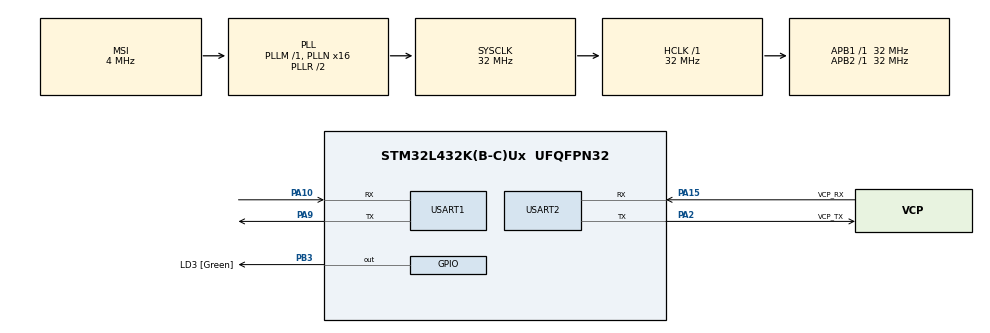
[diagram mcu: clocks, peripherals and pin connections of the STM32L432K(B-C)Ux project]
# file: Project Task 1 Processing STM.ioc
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Mcu.Family=STM32L4
Mcu.Name=STM32L432K(B-C)Ux
Mcu.Package=UFQFPN32
NVIC.PriorityGroup=NVIC_PRIORITYGROUP_4
PA0.GPIO_Label=MCO [High speed clock in]
PA0.Mode=HSE-External-Clock-Source-for-LittleOrca
PA0.Signal=RCC_CK_IN
PA10.Mode=Asynchronous
PA10.Signal=USART1_RX
PA13\ (JTMS-SWDIO).GPIO_Label=SWDIO
PA13\ (JTMS-SWDIO).Mode=Serial_Wire
PA13\ (JTMS-SWDIO).Signal=SYS_JTMS-SWDIO
PA14\ (JTCK-SWCLK).GPIO_Label=SWCLK
PA14\ (JTCK-SWCLK).Mode=Serial_Wire
PA14\ (JTCK-SWCLK).Signal=SYS_JTCK-SWCLK
PA15\ (JTDI).GPIO_Label=VCP_RX
PA15\ (JTDI).Mode=Asynchronous
PA15\ (JTDI).Signal=USART2_RX
PA2.GPIO_Label=VCP_TX
PA2.Mode=Asynchronous
PA2.Signal=USART2_TX
PA9.Mode=Asynchronous
PA9.Signal=USART1_TX
PB3\ (JTDO-TRACESWO).GPIO_Label=LD3 [Green]
PB3\ (JTDO-TRACESWO).Signal=GPIO_Output
PC14-OSC32_IN\ (PC14).Mode=LSE-External-Oscillator
PC14-OSC32_IN\ (PC14).Signal=RCC_OSC32_IN
PC15-OSC32_OUT\ (PC15).Mode=LSE-External-Oscillator
PC15-OSC32_OUT\ (PC15).Signal=RCC_OSC32_OUT
ProjectManager.HeapSize=0x200
ProjectManager.StackSize=0x400
ProjectManager.TargetToolchain=STM32CubeIDE
RCC.AHBFreq_Value=32000000
RCC.APB1Freq_Value=32000000
RCC.APB1TimFreq_Value=32000000
RCC.APB2Freq_Value=32000000
RCC.APB2TimFreq_Value=32000000
RCC.CortexFreq_Value=32000000
RCC.HCLKFreq_Value=32000000
RCC.HSE_VALUE=8000000
RCC.HSI16_VALUE=16000000
RCC.HSI48_VALUE=48000000
RCC.HSI_VALUE=16000000
RCC.MSI_VALUE=4000000
RCC.PLLMUL=RCC_PLLMUL_4
RCC.PLLN=16
RCC.SYSCLKFreq_VALUE=32000000
RCC.SYSCLKSource=RCC_SYSCLKSOURCE_PLLCLK
RCC.VCOOutputFreq_Value=64000000
USART1.VirtualMode-Asynchronous=VM_ASYNC
USART2.VirtualMode-Asynchronous=VM_ASYNC
board=NUCLEO-L432KC

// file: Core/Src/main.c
/* USER CODE BEGIN Header */
/**
  ******************************************************************************
  * @file           : main.c
  * @brief          : Main program body
  ******************************************************************************
  * @attention
  *
  * Copyright (c) 2026 STMicroelectronics.
  * All rights reserved.
  *
  * This software is licensed under terms that can be found in the LICENSE file
  * in the root directory of this software component.
  * If no LICENSE file comes with this software, it is provided AS-IS.
  *
  ******************************************************************************
  */
/* USER CODE END Header */
#include "main.h"

/* USER CODE BEGIN Includes */
#define moving_length 2
/* USER CODE END Includes */

UART_HandleTypeDef huart1;
UART_HandleTypeDef huart2;

void SystemClock_Config(void);
static void MX_GPIO_Init(void);
static void MX_USART2_UART_Init(void);
static void MX_USART1_UART_Init(void);
/* USER CODE BEGIN PFP */
uint8_t get_average(uint8_t array[], int len){
    uint16_t sum = 0;
    for (int i = 0; i < len; i++){
        sum += array[i];
    }
    uint8_t average = sum/len;
    return (uint8_t)average;
}

void change_array(uint8_t array[], int len, uint8_t value){
    for(int i = 1; i < len; i++){
        array[i-1] = array[i];
    }
    array[len-1] = value;
}
/* USER CODE END PFP */

int main(void)
{

  /* MCU Configuration--------------------------------------------------------*/

  /* Reset of all peripherals, Initializes the Flash interface and the Systick. */
  HAL_Init();

  /* Configure the system clock */
  SystemClock_Config();

  /* Initialize all configured peripherals */
  MX_GPIO_Init();
  MX_USART2_UART_Init();
  MX_USART1_UART_Init();
  /* USER CODE BEGIN 2 */
  uint8_t rec_buffer[1];
  uint8_t send_buffer[1];
  int message_received = 0;
  uint8_t array[moving_length] = {0};
  /* USER CODE END 2 */

  /* Infinite loop */
  while (1)
  {

    /* USER CODE BEGIN 3 */
	  HAL_UART_Receive(&huart1, rec_buffer, sizeof(rec_buffer), 10);
	  if (rec_buffer[0] != 0) {
		  message_received++;
	  }
	  if (message_received >= 1) {
		  change_array(array, moving_length, rec_buffer[0]);
		  send_buffer[0] = get_average(array, moving_length);
		  HAL_UART_Transmit(&huart2, send_buffer, sizeof(send_buffer), HAL_MAX_DELAY);
		  message_received = 0;
	  }
  }
  /* USER CODE END 3 */
}

void SystemClock_Config(void)
{
  RCC_OscInitTypeDef RCC_OscInitStruct = {0};
  RCC_ClkInitTypeDef RCC_ClkInitStruct = {0};

  /** Configure the main internal regulator output voltage
  */
  if (HAL_PWREx_ControlVoltageScaling(PWR_REGULATOR_VOLTAGE_SCALE1) != HAL_OK)
  {
    Error_Handler();
  }

  /** Configure LSE Drive Capability
  */
  HAL_PWR_EnableBkUpAccess();
  __HAL_RCC_LSEDRIVE_CONFIG(RCC_LSEDRIVE_LOW);

  /** Initializes the RCC Oscillators according to the specified parameters
  * in the RCC_OscInitTypeDef structure.
  */
  RCC_OscInitStruct.OscillatorType = RCC_OSCILLATORTYPE_LSE|RCC_OSCILLATORTYPE_MSI;
  RCC_OscInitStruct.LSEState = RCC_LSE_ON;
  RCC_OscInitStruct.MSIState = RCC_MSI_ON;
  RCC_OscInitStruct.MSICalibrationValue = 0;
  RCC_OscInitStruct.MSIClockRange = RCC_MSIRANGE_6;
  RCC_OscInitStruct.PLL.PLLState = RCC_PLL_ON;
  RCC_OscInitStruct.PLL.PLLSource = RCC_PLLSOURCE_MSI;
  RCC_OscInitStruct.PLL.PLLM = 1;
  RCC_OscInitStruct.PLL.PLLN = 16;
  RCC_OscInitStruct.PLL.PLLP = RCC_PLLP_DIV7;
  RCC_OscInitStruct.PLL.PLLQ = RCC_PLLQ_DIV2;
  RCC_OscInitStruct.PLL.PLLR = RCC_PLLR_DIV2;
  if (HAL_RCC_OscConfig(&RCC_OscInitStruct) != HAL_OK)
  {
    Error_Handler();
  }

  /** Initializes the CPU, AHB and APB buses clocks
  */
  RCC_ClkInitStruct.ClockType = RCC_CLOCKTYPE_HCLK|RCC_CLOCKTYPE_SYSCLK
                              |RCC_CLOCKTYPE_PCLK1|RCC_CLOCKTYPE_PCLK2;
  RCC_ClkInitStruct.SYSCLKSource = RCC_SYSCLKSOURCE_PLLCLK;
  RCC_ClkInitStruct.AHBCLKDivider = RCC_SYSCLK_DIV1;
  RCC_ClkInitStruct.APB1CLKDivider = RCC_HCLK_DIV1;
  RCC_ClkInitStruct.APB2CLKDivider = RCC_HCLK_DIV1;

  if (HAL_RCC_ClockConfig(&RCC_ClkInitStruct, FLASH_LATENCY_1) != HAL_OK)
  {
    Error_Handler();
  }

  /** Enable MSI Auto calibration
  */
  HAL_RCCEx_EnableMSIPLLMode();
}

static void MX_USART1_UART_Init(void)
{

  huart1.Instance = USART1;
  huart1.Init.BaudRate = 115200;
  huart1.Init.WordLength = UART_WORDLENGTH_8B;
  huart1.Init.StopBits = UART_STOPBITS_1;
  huart1.Init.Parity = UART_PARITY_NONE;
  huart1.Init.Mode = UART_MODE_TX_RX;
  huart1.Init.HwFlowCtl = UART_HWCONTROL_NONE;
  huart1.Init.OverSampling = UART_OVERSAMPLING_16;
  huart1.Init.OneBitSampling = UART_ONE_BIT_SAMPLE_DISABLE;
  huart1.AdvancedInit.AdvFeatureInit = UART_ADVFEATURE_NO_INIT;
  if (HAL_UART_Init(&huart1) != HAL_OK)
  {
    Error_Handler();
  }

}

static void MX_USART2_UART_Init(void)
{

  huart2.Instance = USART2;
  huart2.Init.BaudRate = 115200;
  huart2.Init.WordLength = UART_WORDLENGTH_8B;
  huart2.Init.StopBits = UART_STOPBITS_1;
  huart2.Init.Parity = UART_PARITY_NONE;
  huart2.Init.Mode = UART_MODE_TX_RX;
  huart2.Init.HwFlowCtl = UART_HWCONTROL_NONE;
  huart2.Init.OverSampling = UART_OVERSAMPLING_16;
  huart2.Init.OneBitSampling = UART_ONE_BIT_SAMPLE_DISABLE;
  huart2.AdvancedInit.AdvFeatureInit = UART_ADVFEATURE_NO_INIT;
  if (HAL_UART_Init(&huart2) != HAL_OK)
  {
    Error_Handler();
  }

}

static void MX_GPIO_Init(void)
{
  GPIO_InitTypeDef GPIO_InitStruct = {0};

  /* GPIO Ports Clock Enable */
  __HAL_RCC_GPIOC_CLK_ENABLE();
  __HAL_RCC_GPIOA_CLK_ENABLE();
  __HAL_RCC_GPIOB_CLK_ENABLE();

  /*Configure GPIO pin Output Level */
  HAL_GPIO_WritePin(LD3_GPIO_Port, LD3_Pin, GPIO_PIN_RESET);

  /*Configure GPIO pin : LD3_Pin */
  GPIO_InitStruct.Pin = LD3_Pin;
  GPIO_InitStruct.Mode = GPIO_MODE_OUTPUT_PP;
  GPIO_InitStruct.Pull = GPIO_NOPULL;
  GPIO_InitStruct.Speed = GPIO_SPEED_FREQ_LOW;
  HAL_GPIO_Init(LD3_GPIO_Port, &GPIO_InitStruct);

}

void Error_Handler(void)
{
  __disable_irq();
  while (1)
  {
  }
}
